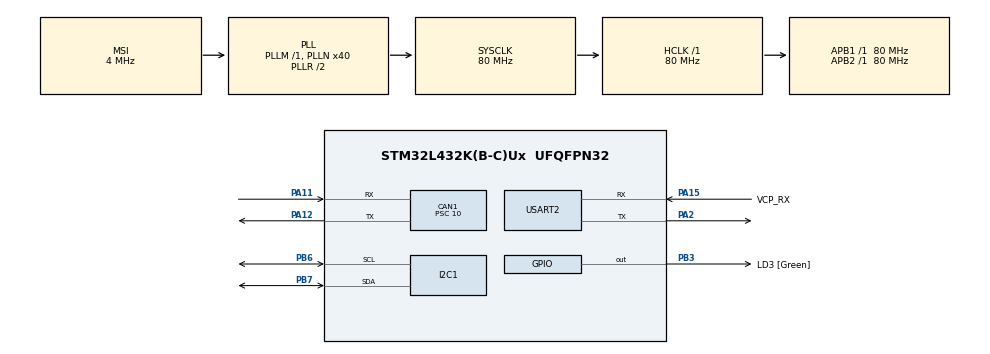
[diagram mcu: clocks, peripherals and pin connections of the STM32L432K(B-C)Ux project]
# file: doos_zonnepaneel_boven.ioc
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CAN1.ABOM=ENABLE
CAN1.BS1=CAN_BS1_13TQ
CAN1.BS2=CAN_BS2_2TQ
CAN1.CalculateBaudRate=500000
CAN1.CalculateTimeBit=2000
CAN1.CalculateTimeQuantum=125.0
CAN1.NART=ENABLE
CAN1.Prescaler=10
I2C1.Timing=0x10D19CE4
Mcu.Family=STM32L4
Mcu.Name=STM32L432K(B-C)Ux
Mcu.Package=UFQFPN32
NVIC.CAN1_RX0_IRQn=true\:0\:0\:false\:false\:true\:true\:true\:true
NVIC.CAN1_RX1_IRQn=true\:0\:0\:false\:false\:true\:true\:true\:true
NVIC.PriorityGroup=NVIC_PRIORITYGROUP_4
PA11.Mode=CAN_Activate
PA11.Signal=CAN1_RX
PA12.Mode=CAN_Activate
PA12.Signal=CAN1_TX
PA13\ (JTMS-SWDIO).GPIO_Label=SWDIO
PA13\ (JTMS-SWDIO).Mode=Serial_Wire
PA13\ (JTMS-SWDIO).Signal=SYS_JTMS-SWDIO
PA14\ (JTCK-SWCLK).GPIO_Label=SWCLK
PA14\ (JTCK-SWCLK).Mode=Serial_Wire
PA14\ (JTCK-SWCLK).Signal=SYS_JTCK-SWCLK
PA15\ (JTDI).GPIO_Label=VCP_RX
PA15\ (JTDI).Mode=Asynchronous
PA15\ (JTDI).Signal=USART2_RX
PA2.Mode=Asynchronous
PA2.Signal=USART2_TX
PB3\ (JTDO-TRACESWO).GPIO_Label=LD3 [Green]
PB3\ (JTDO-TRACESWO).Signal=GPIO_Output
PB6.Mode=I2C
PB6.Signal=I2C1_SCL
PB7.Mode=I2C
PB7.Signal=I2C1_SDA
PC14-OSC32_IN\ (PC14).Mode=LSE-External-Oscillator
PC14-OSC32_IN\ (PC14).Signal=RCC_OSC32_IN
PC15-OSC32_OUT\ (PC15).Mode=LSE-External-Oscillator
PC15-OSC32_OUT\ (PC15).Signal=RCC_OSC32_OUT
ProjectManager.HeapSize=0x200
ProjectManager.StackSize=0x400
ProjectManager.TargetToolchain=STM32CubeIDE
RCC.AHBFreq_Value=80000000
RCC.APB1Freq_Value=80000000
RCC.APB1TimFreq_Value=80000000
RCC.APB2Freq_Value=80000000
RCC.APB2TimFreq_Value=80000000
RCC.CortexFreq_Value=80000000
RCC.HCLKFreq_Value=80000000
RCC.HSE_VALUE=8000000
RCC.HSI16_VALUE=16000000
RCC.HSI48_VALUE=48000000
RCC.HSI_VALUE=16000000
RCC.MSI_VALUE=4000000
RCC.PLLMUL=RCC_PLLMUL_4
RCC.PLLN=40
RCC.SYSCLKFreq_VALUE=80000000
RCC.SYSCLKSource=RCC_SYSCLKSOURCE_PLLCLK
RCC.VCOOutputFreq_Value=160000000
USART2.VirtualMode-Asynchronous=VM_ASYNC
board=NUCLEO-L432KC

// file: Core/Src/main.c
/* USER CODE BEGIN Header */
/**
  ******************************************************************************
  * @file           : main.c
  * @brief          : Main program body
  ******************************************************************************
  * @attention
  *
  * Copyright (c) 2026 STMicroelectronics.
  * All rights reserved.
  *
  * This software is licensed under terms that can be found in the LICENSE file
  * in the root directory of this software component.
  * If no LICENSE file comes with this software, it is provided AS-IS.
  *
  ******************************************************************************
  */
/* USER CODE END Header */
#include "main.h"

/* USER CODE BEGIN Includes */
#include <stdio.h>
#include <string.h>
#include <stdlib.h>
/* USER CODE END Includes */

/* USER CODE BEGIN PD */
#define MCP23017_ADDR  (0x21 << 1)  // HAL verwacht 8-bit adres

#define IODIRA   0x00
#define IODIRB   0x01
#define GPIOA_REG 0x12
#define GPIOB_REG 0x13

//#define CAN_ID_TEMPERATURE   210
//#define CAN_ID_CO2           220
//#define CAN_ID_HUMIDITY    230 //nog aanpassen
/* USER CODE END PD */

CAN_HandleTypeDef hcan1;

I2C_HandleTypeDef hi2c1;

UART_HandleTypeDef huart2;

/* USER CODE BEGIN PV */
CAN_RxHeaderTypeDef rxHeader;//struct met alle instellingen voor de canbus rx header
uint8_t rxData[8];//Binnenkomende CANBUS data.
volatile int datacheck = 0;//om te zien of er data binnen is gekomen
/* USER CODE END PV */

void SystemClock_Config(void);
static void MX_GPIO_Init(void);
static void MX_I2C1_Init(void);
static void MX_CAN1_Init(void);
static void MX_USART2_UART_Init(void);
/* USER CODE BEGIN PFP */
void MCP23017_Init(void);
void readSensorData();
void LEDBar_Set();//welke parameter?
void LEDBar_CO2(int co2);
void LEDBar_Temp(float temp);
void LEDBar_CO2(int co2);

/* USER CODE END PFP */

int main(void)
{

  /* MCU Configuration--------------------------------------------------------*/

  /* Reset of all peripherals, Initializes the Flash interface and the Systick. */
  HAL_Init();

  /* Configure the system clock */
  SystemClock_Config();

  /* Initialize all configured peripherals */
  MX_GPIO_Init();
  MX_I2C1_Init();
  MX_CAN1_Init();
  MX_USART2_UART_Init();
  /* USER CODE BEGIN 2 */
  MCP23017_Init();

  CAN_FilterTypeDef filter;

  filter.FilterBank = 0;
  filter.FilterMode = CAN_FILTERMODE_IDMASK;
  filter.FilterScale = CAN_FILTERSCALE_32BIT;
  filter.FilterIdHigh = 0;
  filter.FilterIdLow = 0;
  filter.FilterMaskIdHigh = 0;//accepteert momenteel alle CANBUS berichten.
  filter.FilterMaskIdLow = 0;
  filter.FilterFIFOAssignment = CAN_FILTER_FIFO0;
  filter.FilterActivation = ENABLE;

  HAL_CAN_ConfigFilter(&hcan1, &filter);
  HAL_CAN_Start(&hcan1); //start de CANBUS
  if (HAL_CAN_ActivateNotification(&hcan1, CAN_IT_RX_FIFO0_MSG_PENDING) != HAL_OK)
  {
	  Error_Handler();
  }
  HAL_UART_Transmit(&huart2, "voor while", 10, HAL_MAX_DELAY);
  /* USER CODE END 2 */

  /* Infinite loop */
  /* USER CODE BEGIN WHILE */
  while (1)
  {
//	  LEDBar_AllOn();//Voor Testen

	  //VOOR HET TESTEN.
//	  uint8_t invoer[5] = {0};
//	    HAL_UART_Transmit(&huart2, (uint8_t*)"Geef CO2 waarde (400-2000): \r\n", 30, 100);
//	    HAL_UART_Receive(&huart2, invoer, 4, HAL_MAX_DELAY);  // wacht op 4 karakters
//
//	    int co2 = atoi((char*)invoer);  // "1500" → 1500
//
//	    char terugkoppeling[40];
//	    sprintf(terugkoppeling, "CO2: %d ppm\r\n", co2);
//	    HAL_UART_Transmit(&huart2, (uint8_t*)terugkoppeling, strlen(terugkoppeling), 100);
//	    LEDBar_CO2(co2);

	  if (datacheck){
		  datacheck = 0;
		  if (rxHeader.StdId == 210) {//Temperatuur
			  float temp;
			  memcpy(&temp, rxData, 4);//zet de eerste 4 ontvangen bytes om naar een float
			  char msg[50];
			  sprintf(msg, "temp: %d.%02d\r\n", (int)temp, (int)(temp*100)%100);
			  HAL_UART_Transmit(&huart2, (uint8_t*)msg, strlen(msg), HAL_MAX_DELAY);
			  LEDBar_Temp(temp);
		  }
		  else if(rxHeader.StdId == 220){//CO2
			  int co2 = (rxData[0] << 8) | rxData[1];//Co2 data past niet in 1 byte.
			  LEDBar_CO2(co2);
		  }
		  else if(rxHeader.StdId == 230){//Humidity
			  int humidity = rxData[0];
			  char msg[40];
			  HAL_UART_Transmit(&huart2, "humidity ontvangen", 19, HAL_MAX_DELAY);
			  LEDBar_Humidity(humidity);
		  }
	  }
    /* USER CODE END WHILE */

  }
}

void SystemClock_Config(void)
{
  RCC_OscInitTypeDef RCC_OscInitStruct = {0};
  RCC_ClkInitTypeDef RCC_ClkInitStruct = {0};

  /** Configure the main internal regulator output voltage
  */
  if (HAL_PWREx_ControlVoltageScaling(PWR_REGULATOR_VOLTAGE_SCALE1) != HAL_OK)
  {
    Error_Handler();
  }

  /** Configure LSE Drive Capability
  */
  HAL_PWR_EnableBkUpAccess();
  __HAL_RCC_LSEDRIVE_CONFIG(RCC_LSEDRIVE_LOW);

  /** Initializes the RCC Oscillators according to the specified parameters
  * in the RCC_OscInitTypeDef structure.
  */
  RCC_OscInitStruct.OscillatorType = RCC_OSCILLATORTYPE_LSE|RCC_OSCILLATORTYPE_MSI;
  RCC_OscInitStruct.LSEState = RCC_LSE_ON;
  RCC_OscInitStruct.MSIState = RCC_MSI_ON;
  RCC_OscInitStruct.MSICalibrationValue = 0;
  RCC_OscInitStruct.MSIClockRange = RCC_MSIRANGE_6;
  RCC_OscInitStruct.PLL.PLLState = RCC_PLL_ON;
  RCC_OscInitStruct.PLL.PLLSource = RCC_PLLSOURCE_MSI;
  RCC_OscInitStruct.PLL.PLLM = 1;
  RCC_OscInitStruct.PLL.PLLN = 40;
  RCC_OscInitStruct.PLL.PLLP = RCC_PLLP_DIV7;
  RCC_OscInitStruct.PLL.PLLQ = RCC_PLLQ_DIV2;
  RCC_OscInitStruct.PLL.PLLR = RCC_PLLR_DIV2;
  if (HAL_RCC_OscConfig(&RCC_OscInitStruct) != HAL_OK)
  {
    Error_Handler();
  }

  /** Initializes the CPU, AHB and APB buses clocks
  */
  RCC_ClkInitStruct.ClockType = RCC_CLOCKTYPE_HCLK|RCC_CLOCKTYPE_SYSCLK
                              |RCC_CLOCKTYPE_PCLK1|RCC_CLOCKTYPE_PCLK2;
  RCC_ClkInitStruct.SYSCLKSource = RCC_SYSCLKSOURCE_PLLCLK;
  RCC_ClkInitStruct.AHBCLKDivider = RCC_SYSCLK_DIV1;
  RCC_ClkInitStruct.APB1CLKDivider = RCC_HCLK_DIV1;
  RCC_ClkInitStruct.APB2CLKDivider = RCC_HCLK_DIV1;

  if (HAL_RCC_ClockConfig(&RCC_ClkInitStruct, FLASH_LATENCY_4) != HAL_OK)
  {
    Error_Handler();
  }

  /** Enable MSI Auto calibration
  */
  HAL_RCCEx_EnableMSIPLLMode();
}

static void MX_CAN1_Init(void)
{

  hcan1.Instance = CAN1;
  hcan1.Init.Prescaler = 10;
  hcan1.Init.Mode = CAN_MODE_NORMAL;
  hcan1.Init.SyncJumpWidth = CAN_SJW_1TQ;
  hcan1.Init.TimeSeg1 = CAN_BS1_13TQ;
  hcan1.Init.TimeSeg2 = CAN_BS2_2TQ;
  hcan1.Init.TimeTriggeredMode = DISABLE;
  hcan1.Init.AutoBusOff = ENABLE;
  hcan1.Init.AutoWakeUp = DISABLE;
  hcan1.Init.AutoRetransmission = ENABLE;
  hcan1.Init.ReceiveFifoLocked = DISABLE;
  hcan1.Init.TransmitFifoPriority = DISABLE;
  if (HAL_CAN_Init(&hcan1) != HAL_OK)
  {
    Error_Handler();
  }

}

static void MX_I2C1_Init(void)
{

  hi2c1.Instance = I2C1;
  hi2c1.Init.Timing = 0x10D19CE4;
  hi2c1.Init.OwnAddress1 = 0;
  hi2c1.Init.AddressingMode = I2C_ADDRESSINGMODE_7BIT;
  hi2c1.Init.DualAddressMode = I2C_DUALADDRESS_DISABLE;
  hi2c1.Init.OwnAddress2 = 0;
  hi2c1.Init.OwnAddress2Masks = I2C_OA2_NOMASK;
  hi2c1.Init.GeneralCallMode = I2C_GENERALCALL_DISABLE;
  hi2c1.Init.NoStretchMode = I2C_NOSTRETCH_DISABLE;
  if (HAL_I2C_Init(&hi2c1) != HAL_OK)
  {
    Error_Handler();
  }

  /** Configure Analogue filter
  */
  if (HAL_I2CEx_ConfigAnalogFilter(&hi2c1, I2C_ANALOGFILTER_ENABLE) != HAL_OK)
  {
    Error_Handler();
  }

  /** Configure Digital filter
  */
  if (HAL_I2CEx_ConfigDigitalFilter(&hi2c1, 0) != HAL_OK)
  {
    Error_Handler();
  }

}

static void MX_USART2_UART_Init(void)
{

  huart2.Instance = USART2;
  huart2.Init.BaudRate = 115200;
  huart2.Init.WordLength = UART_WORDLENGTH_8B;
  huart2.Init.StopBits = UART_STOPBITS_1;
  huart2.Init.Parity = UART_PARITY_NONE;
  huart2.Init.Mode = UART_MODE_TX_RX;
  huart2.Init.HwFlowCtl = UART_HWCONTROL_NONE;
  huart2.Init.OverSampling = UART_OVERSAMPLING_16;
  huart2.Init.OneBitSampling = UART_ONE_BIT_SAMPLE_DISABLE;
  huart2.AdvancedInit.AdvFeatureInit = UART_ADVFEATURE_NO_INIT;
  if (HAL_UART_Init(&huart2) != HAL_OK)
  {
    Error_Handler();
  }

}

static void MX_GPIO_Init(void)
{
  GPIO_InitTypeDef GPIO_InitStruct = {0};

  /* GPIO Ports Clock Enable */
  __HAL_RCC_GPIOC_CLK_ENABLE();
  __HAL_RCC_GPIOA_CLK_ENABLE();
  __HAL_RCC_GPIOB_CLK_ENABLE();

  /*Configure GPIO pin Output Level */
  HAL_GPIO_WritePin(LD3_GPIO_Port, LD3_Pin, GPIO_PIN_RESET);

  /*Configure GPIO pin : LD3_Pin */
  GPIO_InitStruct.Pin = LD3_Pin;
  GPIO_InitStruct.Mode = GPIO_MODE_OUTPUT_PP;
  GPIO_InitStruct.Pull = GPIO_NOPULL;
  GPIO_InitStruct.Speed = GPIO_SPEED_FREQ_LOW;
  HAL_GPIO_Init(LD3_GPIO_Port, &GPIO_InitStruct);

}

/* USER CODE BEGIN 4 */

void HAL_CAN_RxFifo0MsgPendingCallback(CAN_HandleTypeDef *hcan) {
	if (HAL_CAN_GetRxMessage(hcan, CAN_RX_FIFO0, &rxHeader, rxData) != HAL_OK) {
		Error_Handler();
		//leest ontvangen data uit.
	}
	if (rxHeader.StdId == 210 ||rxHeader.StdId == 220
			||rxHeader.StdId == 230) {
		HAL_UART_Transmit(&huart2, "geaccepteerd", 13, HAL_MAX_DELAY);
		//checkt de message ID.
		datacheck = 1;
	}
}

void MCP23017_Init(void) {
    uint8_t data[2];

    // GPIOA: alle 8 pinnen als OUTPUT (PA0-PA7 = LED)
    data[0] = IODIRA;
    data[1] = 0x00;  // 0x00 = alles output
    HAL_I2C_Master_Transmit(&hi2c1, MCP23017_ADDR, data, 2, HAL_MAX_DELAY);

    // GPIOB: PB0 en PB1 als OUTPUT (2 LEDs)
    data[0] = IODIRB;
    data[1] = 0x00;  // 0x00 = alles output (PB2-PB7 ongebruikt, maakt niet uit)
    HAL_I2C_Master_Transmit(&hi2c1, MCP23017_ADDR, data, 2, HAL_MAX_DELAY);
}

void LEDBar_CO2(int co2){//220
	uint8_t co2Data [2];

	if (co2<=400)
	{
	    co2Data[1]=0x00;
	    co2Data[0]=GPIOA_REG;
	    HAL_I2C_Master_Transmit(&hi2c1, MCP23017_ADDR, co2Data, 2, HAL_MAX_DELAY);

	    co2Data[1]=0x00;
	    co2Data[0]=GPIOB_REG;
	    HAL_I2C_Master_Transmit(&hi2c1, MCP23017_ADDR, co2Data, 2, HAL_MAX_DELAY);
	}
	else if(co2>400&&co2<=1760)
	{
		co2Data[1]=0xFF;
		co2Data[0]=GPIOA_REG;
		HAL_I2C_Master_Transmit(&hi2c1, MCP23017_ADDR, co2Data, 2, HAL_MAX_DELAY);

	    co2Data[1]=0x00;
	    co2Data[0]=GPIOB_REG;
	    HAL_I2C_Master_Transmit(&hi2c1, MCP23017_ADDR, co2Data, 2, HAL_MAX_DELAY);
	}
	else if(co2>1760&&co2<=1840)
	{
		co2Data[1]=0x00;
		co2Data[0]=GPIOA_REG;
		HAL_I2C_Master_Transmit(&hi2c1, MCP23017_ADDR, co2Data, 2, HAL_MAX_DELAY);

		co2Data[1]=0x01;
		co2Data[0]=GPIOB_REG;
		HAL_I2C_Master_Transmit(&hi2c1, MCP23017_ADDR, co2Data, 2, HAL_MAX_DELAY);
	}
	else{

		co2Data[1]=0x00;
		co2Data[0]=GPIOA_REG;
		HAL_I2C_Master_Transmit(&hi2c1, MCP23017_ADDR, co2Data, 2, HAL_MAX_DELAY);

		co2Data[1]=0x02;
		co2Data[0]=GPIOB_REG;
		HAL_I2C_Master_Transmit(&hi2c1, MCP23017_ADDR, co2Data, 2, HAL_MAX_DELAY);
	}
}

void LEDBar_Temp(float temp){ //210
	uint8_t tempData [2];

	if (temp<=16.00)
	{
		tempData[1]=0x01;
		tempData[0]=GPIOA_REG;
	    HAL_I2C_Master_Transmit(&hi2c1, MCP23017_ADDR, tempData, 2, HAL_MAX_DELAY);

	    tempData[1]=0x00;
	    tempData[0]=GPIOB_REG;
	    HAL_I2C_Master_Transmit(&hi2c1, MCP23017_ADDR, tempData, 2, HAL_MAX_DELAY);
	}
	else if(temp>16.00&&temp<=21.00)
	{
		tempData[1]=0xFF;
		tempData[0]=GPIOA_REG;
		HAL_I2C_Master_Transmit(&hi2c1, MCP23017_ADDR, tempData, 2, HAL_MAX_DELAY);

		tempData[1]=0x00;
		tempData[0]=GPIOB_REG;
	    HAL_I2C_Master_Transmit(&hi2c1, MCP23017_ADDR, tempData, 2, HAL_MAX_DELAY);
	}
	else if(temp>21.00&&temp<=23.00)
	{
		tempData[1]=0x00;
		tempData[0]=GPIOA_REG;
		HAL_I2C_Master_Transmit(&hi2c1, MCP23017_ADDR, tempData, 2, HAL_MAX_DELAY);

		tempData[1]=0x01;
		tempData[0]=GPIOB_REG;
		HAL_I2C_Master_Transmit(&hi2c1, MCP23017_ADDR, tempData, 2, HAL_MAX_DELAY);
	}
	else{

		tempData[1]=0x00;
		tempData[0]=GPIOA_REG;
		HAL_I2C_Master_Transmit(&hi2c1, MCP23017_ADDR, tempData, 2, HAL_MAX_DELAY);

		tempData[1]=0x02;
		tempData[0]=GPIOB_REG;
		HAL_I2C_Master_Transmit(&hi2c1, MCP23017_ADDR, tempData, 2, HAL_MAX_DELAY);
	}
}

void LEDBar_Humidity(int humidity){//230
	uint8_t humidityData [2];

	if (humidity<=20)
	{
		humidityData[1]=0x07;
		humidityData[0]=GPIOA_REG;
	    HAL_I2C_Master_Transmit(&hi2c1, MCP23017_ADDR, humidityData, 2, HAL_MAX_DELAY);

	    humidityData[1]=0x00;
	    humidityData[0]=GPIOB_REG;
	    HAL_I2C_Master_Transmit(&hi2c1, MCP23017_ADDR, humidityData, 2, HAL_MAX_DELAY);
	}
	else if(humidity>20&&humidity<=60)
	{
		humidityData[1]=0x87;
		humidityData[0]=GPIOA_REG;
		HAL_I2C_Master_Transmit(&hi2c1, MCP23017_ADDR, humidityData, 2, HAL_MAX_DELAY);

		humidityData[1]=0x00;
		humidityData[0]=GPIOB_REG;
	    HAL_I2C_Master_Transmit(&hi2c1, MCP23017_ADDR, humidityData, 2, HAL_MAX_DELAY);
	}
	else if(humidity>60&&humidity<=79)
	{
		humidityData[1]=0x07;
		humidityData[0]=GPIOA_REG;
		HAL_I2C_Master_Transmit(&hi2c1, MCP23017_ADDR, humidityData, 2, HAL_MAX_DELAY);

		humidityData[1]=0x01;
		humidityData[0]=GPIOB_REG;
		HAL_I2C_Master_Transmit(&hi2c1, MCP23017_ADDR, humidityData, 2, HAL_MAX_DELAY);
	}
	else{

		humidityData[1]=0x07;
		humidityData[0]=GPIOA_REG;
		HAL_I2C_Master_Transmit(&hi2c1, MCP23017_ADDR, humidityData, 2, HAL_MAX_DELAY);

		humidityData[1]=0x02;
		humidityData[0]=GPIOB_REG;
		HAL_I2C_Master_Transmit(&hi2c1, MCP23017_ADDR, humidityData, 2, HAL_MAX_DELAY);
	}
}

void LEDBar_AllOn() {
    uint8_t data[2];

    // Zet PA0-PA7 aan (8 LEDs)
    data[0] = GPIOA_REG;
    data[1] = 0xFF;  // alle 8 bits HIGH
    HAL_I2C_Master_Transmit(&hi2c1, MCP23017_ADDR, data, 2, HAL_MAX_DELAY);

    // Zet PB0 en PB1 aan (2 LEDs)
    data[0] = GPIOB_REG;
    data[1] = 0x03;  // bit0 en bit1 HIGH = 0b00000011
    HAL_I2C_Master_Transmit(&hi2c1, MCP23017_ADDR, data, 2, HAL_MAX_DELAY);
}

/* USER CODE END 4 */

void Error_Handler(void)
{
  __disable_irq();
  while (1)
  {
  }
}
